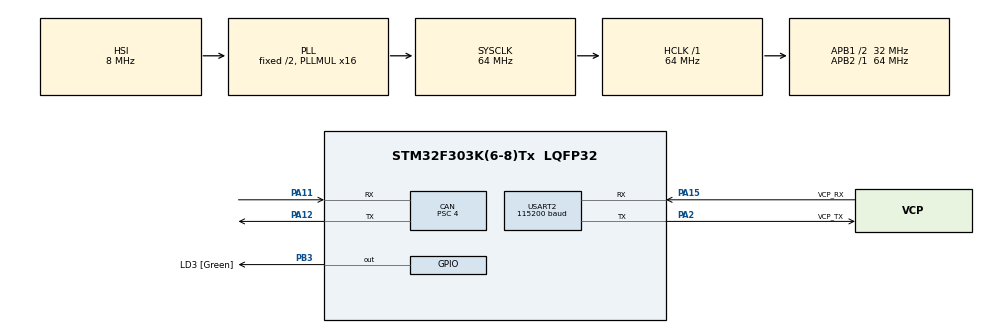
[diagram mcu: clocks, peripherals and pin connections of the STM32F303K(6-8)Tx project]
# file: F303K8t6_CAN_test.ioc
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CAN.BS1=CAN_BS1_11TQ
CAN.BS2=CAN_BS2_4TQ
CAN.CalculateTimeQuantum=125.0
CAN.Prescaler=4
Mcu.Family=STM32F3
Mcu.Name=STM32F303K(6-8)Tx
Mcu.Package=LQFP32
NVIC.CAN_RX0_IRQn=true\:1\:0\:true\:false\:true\:true\:true
NVIC.CAN_RX1_IRQn=true\:2\:0\:true\:false\:true\:true\:true
NVIC.PriorityGroup=NVIC_PRIORITYGROUP_4
PA11.Mode=Master
PA11.Signal=CAN_RX
PA12.Mode=Master
PA12.Signal=CAN_TX
PA13.GPIO_Label=SWDIO
PA13.Mode=Serial_Wire
PA13.Signal=SYS_JTMS-SWDIO
PA14.GPIO_Label=SWCLK
PA14.Mode=Serial_Wire
PA14.Signal=SYS_JTCK-SWCLK
PA15.GPIO_Label=VCP_RX
PA15.Mode=Asynchronous
PA15.Signal=USART2_RX
PA2.GPIO_Label=VCP_TX
PA2.Mode=Asynchronous
PA2.Signal=USART2_TX
PB3.GPIO_Label=LD3 [Green]
PB3.Signal=GPIO_Output
PF0\ /\ OSC_IN.GPIO_Label=MCO
PF0\ /\ OSC_IN.Mode=HSE-External-Clock-Source
PF0\ /\ OSC_IN.Signal=RCC_OSC_IN
ProjectManager.HeapSize=0x200
ProjectManager.StackSize=0x400
ProjectManager.TargetToolchain=STM32CubeIDE
RCC.AHBFreq_Value=64000000
RCC.APB1CLKDivider=RCC_HCLK_DIV2
RCC.APB1Freq_Value=32000000
RCC.APB1TimFreq_Value=64000000
RCC.APB2Freq_Value=64000000
RCC.APB2TimFreq_Value=64000000
RCC.CortexFreq_Value=64000000
RCC.HCLKFreq_Value=64000000
RCC.HSE_VALUE=8000000
RCC.HSI_VALUE=8000000
RCC.PLLMUL=RCC_PLL_MUL16
RCC.SYSCLKFreq_VALUE=64000000
RCC.SYSCLKSourceVirtual=RCC_SYSCLKSOURCE_PLLCLK
USART2.BaudRate=115200
USART2.VirtualMode-Asynchronous=VM_ASYNC
board=NUCLEO-F303K8

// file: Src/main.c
/* USER CODE BEGIN Header */
/**
  ******************************************************************************
  * @file           : main.c
  * @brief          : Main program body
  ******************************************************************************
  * @attention
  *
  * <h2><center>&copy; Copyright (c) 2019 STMicroelectronics.
  * All rights reserved.</center></h2>
  *
  * This software component is licensed by ST under BSD 3-Clause license,
  * the "License"; You may not use this file except in compliance with the
  * License. You may obtain a copy of the License at:
  *                        opensource.org/licenses/BSD-3-Clause
  *
  ******************************************************************************
  */
/* USER CODE END Header */

#include "main.h"

/* USER CODE BEGIN Includes */
#include "xprintf.h"
/* USER CODE END Includes */

CAN_HandleTypeDef hcan;

UART_HandleTypeDef huart2;

void SystemClock_Config(void);
static void MX_GPIO_Init(void);
static void MX_USART2_UART_Init(void);
static void MX_CAN_Init(void);

/* USER CODE BEGIN 0 */
CAN_TxHeaderTypeDef   TxHeader;
CAN_RxHeaderTypeDef   RxHeader;

uint8_t               TxData[8];
uint8_t               RxData[8];
uint32_t              TxMailbox;
uint8_t cnt;

void HAL_CAN_RxFifo0MsgPendingCallback(CAN_HandleTypeDef *hcan)
{
  /* Get RX message */
	if (HAL_CAN_GetRxMessage(hcan, CAN_RX_FIFO0, &RxHeader, RxData) != HAL_OK)
  {
    /* Reception Error */
    Error_Handler();
  }
  xprintf(" id=%x [0]=%d [1]=%d [2]=%d\r\n",RxHeader.StdId,RxData[0],RxData[1],RxData[2]);
}
/* USER CODE END 0 */

int main(void)
{

  /* MCU Configuration--------------------------------------------------------*/

  /* Reset of all peripherals, Initializes the Flash interface and the Systick. */
  HAL_Init();

  /* Configure the system clock */
  SystemClock_Config();

  /* Initialize all configured peripherals */
  MX_GPIO_Init();
  MX_USART2_UART_Init();
  MX_CAN_Init();
  /* USER CODE BEGIN 2 */

  init_xprintf(&huart2);
  HAL_CAN_Start(&hcan);
  if (HAL_CAN_ActivateNotification(&hcan, CAN_IT_RX_FIFO0_MSG_PENDING) != HAL_OK)
   {

     Error_Handler();
   }

  /* USER CODE END 2 */

  /* Infinite loop */
  while (1)
  {

    /* USER CODE BEGIN 3 */
	  HAL_GPIO_TogglePin(GPIOB, GPIO_PIN_3);
	  	  HAL_Delay(100);

	  	  TxHeader.StdId = 0x123;
	  	  TxHeader.RTR = CAN_RTR_DATA;
	  	  TxHeader.IDE = CAN_ID_STD;
	  	  TxHeader.DLC = 3;
	  	  TxHeader.TransmitGlobalTime = DISABLE;
	  	  TxData[0] = 100;
	  	  TxData[1] = 200;
	  	  TxData[2] = cnt;

	  	  /* Request transmission */
	  	  if(HAL_CAN_AddTxMessage(&hcan, &TxHeader, TxData, &TxMailbox) != HAL_OK)
	  	  {
	  	    /* Transmission request Error */
	  	    Error_Handler();
	  	  }
	  	  HAL_Delay(10);
	  	  while(HAL_CAN_GetTxMailboxesFreeLevel(&hcan) != 3) {}

	  	   if(cnt>250){
	  		   cnt=0;
	  	   }
	  	   else{
	  		   cnt++;
	  	   }
  }
  /* USER CODE END 3 */
}

void SystemClock_Config(void)
{
  RCC_OscInitTypeDef RCC_OscInitStruct = {0};
  RCC_ClkInitTypeDef RCC_ClkInitStruct = {0};

  /** Initializes the CPU, AHB and APB busses clocks
  */
  RCC_OscInitStruct.OscillatorType = RCC_OSCILLATORTYPE_HSI;
  RCC_OscInitStruct.HSIState = RCC_HSI_ON;
  RCC_OscInitStruct.HSICalibrationValue = RCC_HSICALIBRATION_DEFAULT;
  RCC_OscInitStruct.PLL.PLLState = RCC_PLL_ON;
  RCC_OscInitStruct.PLL.PLLSource = RCC_PLLSOURCE_HSI;
  RCC_OscInitStruct.PLL.PLLMUL = RCC_PLL_MUL16;
  if (HAL_RCC_OscConfig(&RCC_OscInitStruct) != HAL_OK)
  {
    Error_Handler();
  }
  /** Initializes the CPU, AHB and APB busses clocks
  */
  RCC_ClkInitStruct.ClockType = RCC_CLOCKTYPE_HCLK|RCC_CLOCKTYPE_SYSCLK
                              |RCC_CLOCKTYPE_PCLK1|RCC_CLOCKTYPE_PCLK2;
  RCC_ClkInitStruct.SYSCLKSource = RCC_SYSCLKSOURCE_PLLCLK;
  RCC_ClkInitStruct.AHBCLKDivider = RCC_SYSCLK_DIV1;
  RCC_ClkInitStruct.APB1CLKDivider = RCC_HCLK_DIV2;
  RCC_ClkInitStruct.APB2CLKDivider = RCC_HCLK_DIV1;

  if (HAL_RCC_ClockConfig(&RCC_ClkInitStruct, FLASH_LATENCY_2) != HAL_OK)
  {
    Error_Handler();
  }
}

static void MX_CAN_Init(void)
{

  hcan.Instance = CAN;
  hcan.Init.Prescaler = 2;
  hcan.Init.Mode = CAN_MODE_NORMAL;
  hcan.Init.SyncJumpWidth = CAN_SJW_1TQ;
  hcan.Init.TimeSeg1 = CAN_BS1_8TQ;
  hcan.Init.TimeSeg2 = CAN_BS2_7TQ;
  hcan.Init.TimeTriggeredMode = DISABLE;
  hcan.Init.AutoBusOff = DISABLE;
  hcan.Init.AutoWakeUp = DISABLE;
  hcan.Init.AutoRetransmission = DISABLE;
  hcan.Init.ReceiveFifoLocked = DISABLE;
  hcan.Init.TransmitFifoPriority = DISABLE;
  if (HAL_CAN_Init(&hcan) != HAL_OK)
  {
    Error_Handler();
  }
  /* USER CODE BEGIN CAN_Init 2 */
  CAN_FilterTypeDef  sFilterConfig;
  	sFilterConfig.FilterBank = 0;
    sFilterConfig.FilterMode = CAN_FILTERMODE_IDLIST;
    sFilterConfig.FilterScale = CAN_FILTERSCALE_16BIT;
    sFilterConfig.FilterIdHigh = 0x456<<5;
    sFilterConfig.FilterIdLow = 0x456<<5;
    sFilterConfig.FilterMaskIdHigh = 0x456<<5;
    sFilterConfig.FilterMaskIdLow = 0x456<<5;
    sFilterConfig.FilterFIFOAssignment = CAN_RX_FIFO0;
    sFilterConfig.FilterActivation = ENABLE;
    sFilterConfig.SlaveStartFilterBank = 0;

   if (HAL_CAN_ConfigFilter(&hcan, &sFilterConfig) != HAL_OK)
   {
 	  Error_Handler();
   }
  /* USER CODE END CAN_Init 2 */

}

static void MX_USART2_UART_Init(void)
{

  huart2.Instance = USART2;
  huart2.Init.BaudRate = 115200;
  huart2.Init.WordLength = UART_WORDLENGTH_8B;
  huart2.Init.StopBits = UART_STOPBITS_1;
  huart2.Init.Parity = UART_PARITY_NONE;
  huart2.Init.Mode = UART_MODE_TX_RX;
  huart2.Init.HwFlowCtl = UART_HWCONTROL_NONE;
  huart2.Init.OverSampling = UART_OVERSAMPLING_16;
  huart2.Init.OneBitSampling = UART_ONE_BIT_SAMPLE_DISABLE;
  huart2.AdvancedInit.AdvFeatureInit = UART_ADVFEATURE_NO_INIT;
  if (HAL_UART_Init(&huart2) != HAL_OK)
  {
    Error_Handler();
  }

}

static void MX_GPIO_Init(void)
{
  GPIO_InitTypeDef GPIO_InitStruct = {0};

  /* GPIO Ports Clock Enable */
  __HAL_RCC_GPIOF_CLK_ENABLE();
  __HAL_RCC_GPIOA_CLK_ENABLE();
  __HAL_RCC_GPIOB_CLK_ENABLE();

  /*Configure GPIO pin Output Level */
  HAL_GPIO_WritePin(LD3_GPIO_Port, LD3_Pin, GPIO_PIN_RESET);

  /*Configure GPIO pin : LD3_Pin */
  GPIO_InitStruct.Pin = LD3_Pin;
  GPIO_InitStruct.Mode = GPIO_MODE_OUTPUT_PP;
  GPIO_InitStruct.Pull = GPIO_NOPULL;
  GPIO_InitStruct.Speed = GPIO_SPEED_FREQ_LOW;
  HAL_GPIO_Init(LD3_GPIO_Port, &GPIO_InitStruct);

}

void Error_Handler(void)
{
}

/************************ (C) COPYRIGHT STMicroelectronics *****END OF FILE****/
